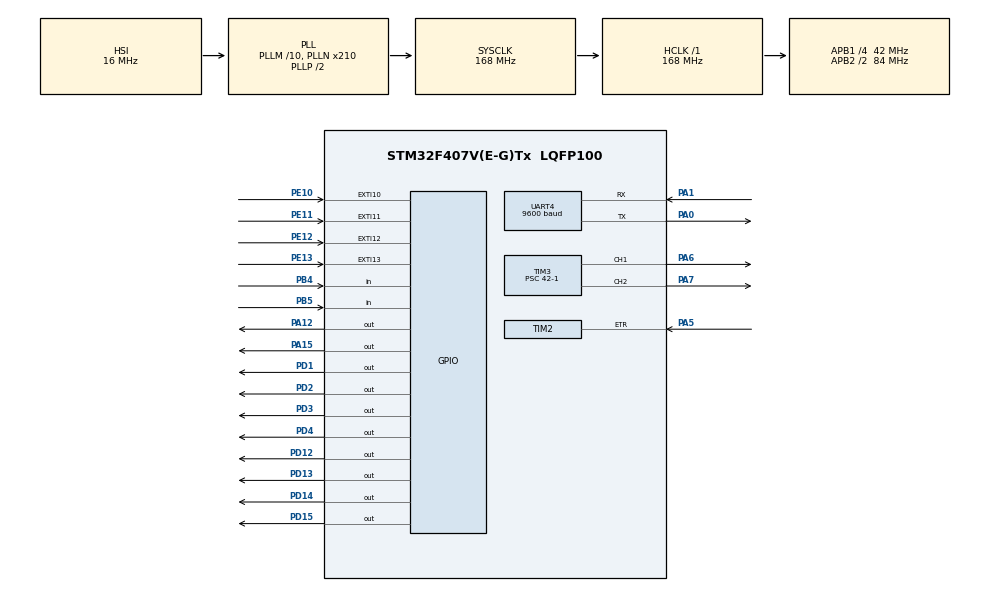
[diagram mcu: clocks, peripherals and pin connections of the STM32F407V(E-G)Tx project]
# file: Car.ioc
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Dma.Request0=TIM3_CH1/TRIG
Dma.Request1=TIM3_CH2
Dma.TIM3_CH1/TRIG.0.Direction=DMA_MEMORY_TO_PERIPH
Dma.TIM3_CH1/TRIG.0.FIFOMode=DMA_FIFOMODE_DISABLE
Dma.TIM3_CH1/TRIG.0.Instance=DMA1_Stream4
Dma.TIM3_CH1/TRIG.0.MemDataAlignment=DMA_MDATAALIGN_HALFWORD
Dma.TIM3_CH1/TRIG.0.MemInc=DMA_MINC_ENABLE
Dma.TIM3_CH1/TRIG.0.Mode=DMA_NORMAL
Dma.TIM3_CH1/TRIG.0.PeriphDataAlignment=DMA_PDATAALIGN_HALFWORD
Dma.TIM3_CH1/TRIG.0.PeriphInc=DMA_PINC_DISABLE
Dma.TIM3_CH1/TRIG.0.Priority=DMA_PRIORITY_LOW
Dma.TIM3_CH2.1.Direction=DMA_MEMORY_TO_PERIPH
Dma.TIM3_CH2.1.FIFOMode=DMA_FIFOMODE_DISABLE
Dma.TIM3_CH2.1.Instance=DMA1_Stream5
Dma.TIM3_CH2.1.MemDataAlignment=DMA_MDATAALIGN_HALFWORD
Dma.TIM3_CH2.1.MemInc=DMA_MINC_ENABLE
Dma.TIM3_CH2.1.Mode=DMA_NORMAL
Dma.TIM3_CH2.1.PeriphDataAlignment=DMA_PDATAALIGN_HALFWORD
Dma.TIM3_CH2.1.PeriphInc=DMA_PINC_DISABLE
Dma.TIM3_CH2.1.Priority=DMA_PRIORITY_LOW
Mcu.Family=STM32F4
Mcu.Name=STM32F407V(E-G)Tx
Mcu.Package=LQFP100
NVIC.DMA1_Stream4_IRQn=true\:0\:0\:false\:false\:true\:false\:true\:true
NVIC.DMA1_Stream5_IRQn=true\:0\:0\:false\:false\:true\:false\:true\:true
NVIC.EXTI15_10_IRQn=true\:0\:0\:false\:false\:true\:true\:true\:true
NVIC.PriorityGroup=NVIC_PRIORITYGROUP_4
NVIC.TIM2_IRQn=true\:2\:0\:true\:false\:true\:true\:true\:true
NVIC.TIM3_IRQn=true\:0\:0\:false\:false\:true\:true\:true\:true
NVIC.TIM4_IRQn=true\:0\:0\:true\:false\:true\:true\:true\:true
NVIC.UART4_IRQn=true\:0\:0\:false\:false\:true\:true\:true\:true
PA0-WKUP.Mode=Asynchronous
PA0-WKUP.Signal=UART4_TX
PA1.Mode=Asynchronous
PA1.Signal=UART4_RX
PA12.Signal=GPIO_Output
PA13.Mode=Serial_Wire
PA13.Signal=SYS_JTMS-SWDIO
PA14.Mode=Serial_Wire
PA14.Signal=SYS_JTCK-SWCLK
PA15.Signal=GPIO_Output
PA5.Signal=S_TIM2_CH1_ETR
PA6.Signal=S_TIM3_CH1
PA7.Signal=S_TIM3_CH2
PB4.GPIO_PuPd=GPIO_NOPULL
PB4.Signal=GPIO_Input
PB5.GPIO_PuPd=GPIO_NOPULL
PB5.Signal=GPIO_Input
PB6.Signal=S_TIM4_CH1
PB7.Signal=S_TIM4_CH2
PD1.Signal=GPIO_Output
PD12.Signal=GPIO_Output
PD13.Signal=GPIO_Output
PD14.Signal=GPIO_Output
PD15.Signal=GPIO_Output
PD2.Signal=GPIO_Output
PD3.Signal=GPIO_Output
PD4.Signal=GPIO_Output
PE10.GPIO_PuPd=GPIO_PULLDOWN
PE10.Signal=GPXTI10
PE11.GPIO_PuPd=GPIO_PULLDOWN
PE11.Signal=GPXTI11
PE12.GPIO_PuPd=GPIO_PULLDOWN
PE12.Signal=GPXTI12
PE13.GPIO_PuPd=GPIO_PULLDOWN
PE13.Signal=GPXTI13
PH0-OSC_IN.Mode=HSE-External-Oscillator
PH0-OSC_IN.Signal=RCC_OSC_IN
PH1-OSC_OUT.Mode=HSE-External-Oscillator
PH1-OSC_OUT.Signal=RCC_OSC_OUT
ProjectManager.HeapSize=0x200
ProjectManager.StackSize=0x400
ProjectManager.TargetToolchain=STM32CubeIDE
RCC.48MHZClocksFreq_Value=84000000
RCC.AHBFreq_Value=168000000
RCC.APB1CLKDivider=RCC_HCLK_DIV4
RCC.APB1Freq_Value=42000000
RCC.APB1TimFreq_Value=84000000
RCC.APB2CLKDivider=RCC_HCLK_DIV2
RCC.APB2Freq_Value=84000000
RCC.APB2TimFreq_Value=168000000
RCC.CortexFreq_Value=168000000
RCC.HCLKFreq_Value=168000000
RCC.HSE_VALUE=26000000
RCC.HSI_VALUE=16000000
RCC.LSE_VALUE=32768
RCC.PLLM=10
RCC.PLLN=210
RCC.SYSCLKFreq_VALUE=168000000
RCC.SYSCLKSource=RCC_SYSCLKSOURCE_PLLCLK
RCC.VCOOutputFreq_Value=336000000
SH.S_TIM2_CH1_ETR.0=TIM2_ETR,ClockSourceETR_Mode2
SH.S_TIM3_CH1.0=TIM3_CH1,PWM Generation1 CH1
SH.S_TIM3_CH2.0=TIM3_CH2,PWM Generation2 CH2
SH.S_TIM4_CH1.0=TIM4_CH1
SH.S_TIM4_CH2.0=TIM4_CH2
TIM2.Period=19999
TIM2.Prescaler=3599
TIM3.Channel-PWM\ Generation1\ CH1=TIM_CHANNEL_1
TIM3.Channel-PWM\ Generation2\ CH2=TIM_CHANNEL_2
TIM3.Period=100-1
TIM3.Prescaler=42-1
TIM3.Pulse-PWM\ Generation1\ CH1=0
TIM4.AutoReloadPreload=TIM_AUTORELOAD_PRELOAD_ENABLE
TIM4.Period=8400
TIM4.Prescaler=10000
UART4.BaudRate=9600
UART4.VirtualMode=Asynchronous
VP_TIM3_VS_ClockSourceINT.Mode=Internal
VP_TIM4_VS_ClockSourceINT.Mode=Internal
VP_TIM4_VS_OPM.Mode=OPM_bit
board=custom

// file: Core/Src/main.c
/* USER CODE BEGIN Header */
/**
  ******************************************************************************
  * @file           : main.c
  * @brief          : Main program body
  ******************************************************************************
  * @attention
  *
  * Copyright (c) 2023 STMicroelectronics.
  * All rights reserved.
  *
  * This software is licensed under terms that can be found in the LICENSE file
  * in the root directory of this software component.
  * If no LICENSE file comes with this software, it is provided AS-IS.
  *
  ******************************************************************************
  */
/* USER CODE END Header */
#include "main.h"

/* USER CODE BEGIN Includes */
#include <string.h>
/* USER CODE END Includes */

TIM_HandleTypeDef htim2;
TIM_HandleTypeDef htim3;
TIM_HandleTypeDef htim4;
DMA_HandleTypeDef hdma_tim3_ch1_trig;
DMA_HandleTypeDef hdma_tim3_ch2;

UART_HandleTypeDef huart4;

/* USER CODE BEGIN PV */
uint8_t rx_data;
uint8_t data_compare;
uint8_t tx_data_touch_sensor_1[] = "1";
uint8_t tx_data_touch_sensor_2[] = "2";
uint8_t tx_data_touch_sensor_3[] = "3";
uint8_t tx_data_touch_sensor_4[] = "4";
uint8_t counter_data[] = "v";
uint8_t velocity = 0;
uint8_t flag = 0;
uint8_t sensor_slot = 1;
volatile uint32_t tim4_count = 0, direction;
uint32_t count = 0;
int speed = 0;
int16_t position;
/* USER CODE END PV */

void SystemClock_Config(void);
static void MX_GPIO_Init(void);
static void MX_DMA_Init(void);
static void MX_UART4_Init(void);
static void MX_TIM2_Init(void);
static void MX_TIM3_Init(void);
static void MX_TIM4_Init(void);

/* USER CODE BEGIN 0 */
void moveForward(void);
void moveBackward(void);
void moveLeft(void);
void moveRight(void);
void stopMotor(void);
/* USER CODE END 0 */

int main(void)
{

  /* MCU Configuration--------------------------------------------------------*/

  /* Reset of all peripherals, Initializes the Flash interface and the Systick. */
  HAL_Init();

  /* Configure the system clock */
  SystemClock_Config();

  /* Initialize all configured peripherals */
  MX_GPIO_Init();
  MX_DMA_Init();
  MX_UART4_Init();
  MX_TIM2_Init();
  MX_TIM3_Init();
  MX_TIM4_Init();
  /* USER CODE BEGIN 2 */
  HAL_UART_Receive_IT(&huart4,&rx_data,1);
  HAL_TIM_Base_Start(&htim3);
  HAL_TIM_PWM_Start(&htim3, TIM_CHANNEL_1);
  HAL_TIM_PWM_Start(&htim3, TIM_CHANNEL_2);
  HAL_TIM_Base_Start_IT(&htim4);
  //HAL_TIM_Encoder_Start(&htim4, TIM_CHANNEL_ALL);
  /* USER CODE END 2 */

  /* Infinite loop */
  while (1)
  {

    /* USER CODE BEGIN 3 */
	  HAL_TIM_Base_Start_IT(&htim4);
	HAL_UART_RxCpltCallback(&huart4);
	if(HAL_GPIO_ReadPin(GPIOB, GPIO_PIN_4) == 1) {
		count++;
	}
	HAL_TIM_Base_Stop_IT(&htim4);
  }
  /* USER CODE END 3 */
}

void SystemClock_Config(void)
{
  RCC_OscInitTypeDef RCC_OscInitStruct = {0};
  RCC_ClkInitTypeDef RCC_ClkInitStruct = {0};

  /** Configure the main internal regulator output voltage
  */
  __HAL_RCC_PWR_CLK_ENABLE();
  __HAL_PWR_VOLTAGESCALING_CONFIG(PWR_REGULATOR_VOLTAGE_SCALE1);

  /** Initializes the RCC Oscillators according to the specified parameters
  * in the RCC_OscInitTypeDef structure.
  */
  RCC_OscInitStruct.OscillatorType = RCC_OSCILLATORTYPE_HSI;
  RCC_OscInitStruct.HSIState = RCC_HSI_ON;
  RCC_OscInitStruct.HSICalibrationValue = RCC_HSICALIBRATION_DEFAULT;
  RCC_OscInitStruct.PLL.PLLState = RCC_PLL_ON;
  RCC_OscInitStruct.PLL.PLLSource = RCC_PLLSOURCE_HSI;
  RCC_OscInitStruct.PLL.PLLM = 10;
  RCC_OscInitStruct.PLL.PLLN = 210;
  RCC_OscInitStruct.PLL.PLLP = RCC_PLLP_DIV2;
  RCC_OscInitStruct.PLL.PLLQ = 4;
  if (HAL_RCC_OscConfig(&RCC_OscInitStruct) != HAL_OK)
  {
    Error_Handler();
  }

  /** Initializes the CPU, AHB and APB buses clocks
  */
  RCC_ClkInitStruct.ClockType = RCC_CLOCKTYPE_HCLK|RCC_CLOCKTYPE_SYSCLK
                              |RCC_CLOCKTYPE_PCLK1|RCC_CLOCKTYPE_PCLK2;
  RCC_ClkInitStruct.SYSCLKSource = RCC_SYSCLKSOURCE_PLLCLK;
  RCC_ClkInitStruct.AHBCLKDivider = RCC_SYSCLK_DIV1;
  RCC_ClkInitStruct.APB1CLKDivider = RCC_HCLK_DIV4;
  RCC_ClkInitStruct.APB2CLKDivider = RCC_HCLK_DIV2;

  if (HAL_RCC_ClockConfig(&RCC_ClkInitStruct, FLASH_LATENCY_5) != HAL_OK)
  {
    Error_Handler();
  }
}

static void MX_TIM2_Init(void)
{

  TIM_ClockConfigTypeDef sClockSourceConfig = {0};
  TIM_MasterConfigTypeDef sMasterConfig = {0};

  htim2.Instance = TIM2;
  htim2.Init.Prescaler = 3599;
  htim2.Init.CounterMode = TIM_COUNTERMODE_UP;
  htim2.Init.Period = 19999;
  htim2.Init.ClockDivision = TIM_CLOCKDIVISION_DIV1;
  htim2.Init.AutoReloadPreload = TIM_AUTORELOAD_PRELOAD_DISABLE;
  if (HAL_TIM_Base_Init(&htim2) != HAL_OK)
  {
    Error_Handler();
  }
  sClockSourceConfig.ClockSource = TIM_CLOCKSOURCE_ETRMODE2;
  sClockSourceConfig.ClockPolarity = TIM_CLOCKPOLARITY_NONINVERTED;
  sClockSourceConfig.ClockPrescaler = TIM_CLOCKPRESCALER_DIV1;
  sClockSourceConfig.ClockFilter = 0;
  if (HAL_TIM_ConfigClockSource(&htim2, &sClockSourceConfig) != HAL_OK)
  {
    Error_Handler();
  }
  sMasterConfig.MasterOutputTrigger = TIM_TRGO_RESET;
  sMasterConfig.MasterSlaveMode = TIM_MASTERSLAVEMODE_DISABLE;
  if (HAL_TIMEx_MasterConfigSynchronization(&htim2, &sMasterConfig) != HAL_OK)
  {
    Error_Handler();
  }

}

static void MX_TIM3_Init(void)
{

  TIM_ClockConfigTypeDef sClockSourceConfig = {0};
  TIM_MasterConfigTypeDef sMasterConfig = {0};
  TIM_OC_InitTypeDef sConfigOC = {0};

  htim3.Instance = TIM3;
  htim3.Init.Prescaler = 42-1;
  htim3.Init.CounterMode = TIM_COUNTERMODE_UP;
  htim3.Init.Period = 100-1;
  htim3.Init.ClockDivision = TIM_CLOCKDIVISION_DIV1;
  htim3.Init.AutoReloadPreload = TIM_AUTORELOAD_PRELOAD_DISABLE;
  if (HAL_TIM_Base_Init(&htim3) != HAL_OK)
  {
    Error_Handler();
  }
  sClockSourceConfig.ClockSource = TIM_CLOCKSOURCE_INTERNAL;
  if (HAL_TIM_ConfigClockSource(&htim3, &sClockSourceConfig) != HAL_OK)
  {
    Error_Handler();
  }
  if (HAL_TIM_PWM_Init(&htim3) != HAL_OK)
  {
    Error_Handler();
  }
  sMasterConfig.MasterOutputTrigger = TIM_TRGO_RESET;
  sMasterConfig.MasterSlaveMode = TIM_MASTERSLAVEMODE_DISABLE;
  if (HAL_TIMEx_MasterConfigSynchronization(&htim3, &sMasterConfig) != HAL_OK)
  {
    Error_Handler();
  }
  sConfigOC.OCMode = TIM_OCMODE_PWM1;
  sConfigOC.Pulse = 0;
  sConfigOC.OCPolarity = TIM_OCPOLARITY_HIGH;
  sConfigOC.OCFastMode = TIM_OCFAST_DISABLE;
  if (HAL_TIM_PWM_ConfigChannel(&htim3, &sConfigOC, TIM_CHANNEL_1) != HAL_OK)
  {
    Error_Handler();
  }
  if (HAL_TIM_PWM_ConfigChannel(&htim3, &sConfigOC, TIM_CHANNEL_2) != HAL_OK)
  {
    Error_Handler();
  }
  HAL_TIM_MspPostInit(&htim3);

}

static void MX_TIM4_Init(void)
{

  TIM_ClockConfigTypeDef sClockSourceConfig = {0};
  TIM_MasterConfigTypeDef sMasterConfig = {0};

  htim4.Instance = TIM4;
  htim4.Init.Prescaler = 10000;
  htim4.Init.CounterMode = TIM_COUNTERMODE_UP;
  htim4.Init.Period = 8400;
  htim4.Init.ClockDivision = TIM_CLOCKDIVISION_DIV1;
  htim4.Init.AutoReloadPreload = TIM_AUTORELOAD_PRELOAD_ENABLE;
  if (HAL_TIM_Base_Init(&htim4) != HAL_OK)
  {
    Error_Handler();
  }
  sClockSourceConfig.ClockSource = TIM_CLOCKSOURCE_INTERNAL;
  if (HAL_TIM_ConfigClockSource(&htim4, &sClockSourceConfig) != HAL_OK)
  {
    Error_Handler();
  }
  if (HAL_TIM_OnePulse_Init(&htim4, TIM_OPMODE_SINGLE) != HAL_OK)
  {
    Error_Handler();
  }
  sMasterConfig.MasterOutputTrigger = TIM_TRGO_RESET;
  sMasterConfig.MasterSlaveMode = TIM_MASTERSLAVEMODE_DISABLE;
  if (HAL_TIMEx_MasterConfigSynchronization(&htim4, &sMasterConfig) != HAL_OK)
  {
    Error_Handler();
  }

}

static void MX_UART4_Init(void)
{

  huart4.Instance = UART4;
  huart4.Init.BaudRate = 9600;
  huart4.Init.WordLength = UART_WORDLENGTH_8B;
  huart4.Init.StopBits = UART_STOPBITS_1;
  huart4.Init.Parity = UART_PARITY_NONE;
  huart4.Init.Mode = UART_MODE_TX_RX;
  huart4.Init.HwFlowCtl = UART_HWCONTROL_NONE;
  huart4.Init.OverSampling = UART_OVERSAMPLING_16;
  if (HAL_UART_Init(&huart4) != HAL_OK)
  {
    Error_Handler();
  }

}

static void MX_DMA_Init(void)
{

  /* DMA controller clock enable */
  __HAL_RCC_DMA1_CLK_ENABLE();

  /* DMA interrupt init */
  /* DMA1_Stream4_IRQn interrupt configuration */
  HAL_NVIC_SetPriority(DMA1_Stream4_IRQn, 0, 0);
  HAL_NVIC_EnableIRQ(DMA1_Stream4_IRQn);
  /* DMA1_Stream5_IRQn interrupt configuration */
  HAL_NVIC_SetPriority(DMA1_Stream5_IRQn, 0, 0);
  HAL_NVIC_EnableIRQ(DMA1_Stream5_IRQn);

}

static void MX_GPIO_Init(void)
{
  GPIO_InitTypeDef GPIO_InitStruct = {0};

  /* GPIO Ports Clock Enable */
  __HAL_RCC_GPIOH_CLK_ENABLE();
  __HAL_RCC_GPIOA_CLK_ENABLE();
  __HAL_RCC_GPIOE_CLK_ENABLE();
  __HAL_RCC_GPIOD_CLK_ENABLE();
  __HAL_RCC_GPIOB_CLK_ENABLE();

  /*Configure GPIO pin Output Level */
  HAL_GPIO_WritePin(GPIOD, GPIO_PIN_12|GPIO_PIN_13|GPIO_PIN_14|GPIO_PIN_15
                          |GPIO_PIN_1|GPIO_PIN_2|GPIO_PIN_3|GPIO_PIN_4, GPIO_PIN_RESET);

  /*Configure GPIO pin Output Level */
  HAL_GPIO_WritePin(GPIOA, GPIO_PIN_12|GPIO_PIN_15, GPIO_PIN_RESET);

  /*Configure GPIO pins : PE10 PE11 PE12 PE13 */
  GPIO_InitStruct.Pin = GPIO_PIN_10|GPIO_PIN_11|GPIO_PIN_12|GPIO_PIN_13;
  GPIO_InitStruct.Mode = GPIO_MODE_IT_RISING;
  GPIO_InitStruct.Pull = GPIO_PULLDOWN;
  HAL_GPIO_Init(GPIOE, &GPIO_InitStruct);

  /*Configure GPIO pins : PD12 PD13 PD14 PD15
                           PD1 PD2 PD3 PD4 */
  GPIO_InitStruct.Pin = GPIO_PIN_12|GPIO_PIN_13|GPIO_PIN_14|GPIO_PIN_15
                          |GPIO_PIN_1|GPIO_PIN_2|GPIO_PIN_3|GPIO_PIN_4;
  GPIO_InitStruct.Mode = GPIO_MODE_OUTPUT_PP;
  GPIO_InitStruct.Pull = GPIO_NOPULL;
  GPIO_InitStruct.Speed = GPIO_SPEED_FREQ_LOW;
  HAL_GPIO_Init(GPIOD, &GPIO_InitStruct);

  /*Configure GPIO pins : PA12 PA15 */
  GPIO_InitStruct.Pin = GPIO_PIN_12|GPIO_PIN_15;
  GPIO_InitStruct.Mode = GPIO_MODE_OUTPUT_PP;
  GPIO_InitStruct.Pull = GPIO_NOPULL;
  GPIO_InitStruct.Speed = GPIO_SPEED_FREQ_LOW;
  HAL_GPIO_Init(GPIOA, &GPIO_InitStruct);

  /*Configure GPIO pins : PB4 PB5 */
  GPIO_InitStruct.Pin = GPIO_PIN_4|GPIO_PIN_5;
  GPIO_InitStruct.Mode = GPIO_MODE_INPUT;
  GPIO_InitStruct.Pull = GPIO_NOPULL;
  HAL_GPIO_Init(GPIOB, &GPIO_InitStruct);

  /* EXTI interrupt init*/
  HAL_NVIC_SetPriority(EXTI15_10_IRQn, 0, 0);
  HAL_NVIC_EnableIRQ(EXTI15_10_IRQn);

}

/* USER CODE BEGIN 4 */
void HAL_UART_RxCpltCallback(UART_HandleTypeDef *huart)
{
  if(huart->Instance==UART4)
  {
	  if(rx_data == 48) {
		  stopMotor();
	  }
	  if(rx_data == 49) // Ascii value of '1' is 49
	  {
		  moveForward();

	  }
	  else if (rx_data == 50) // Ascii value of '2' is 50
	  {
		  moveRight();
	  }
	  else if (rx_data == 51) // Ascii value of '3' is 51
	  {
		  moveBackward();
	  }
	  else if(rx_data == 52)// Ascii value of '4' is 52
	  {
		  moveLeft();
	  } else {
		  return;
	  }

	  HAL_UART_Receive_IT(&huart4, &rx_data, 1);
  }
}

void HAL_GPIO_EXTI_Callback(uint16_t GPIO_PIN) {
	switch(GPIO_PIN) {
	case GPIO_PIN_10:
		//HAL_GPIO_WritePin(GPIOD, GPIO_PIN_12, 1);
		flag = 1;
		sensor_slot = 1;
		break;
	case GPIO_PIN_11:
		HAL_GPIO_WritePin(GPIOD, GPIO_PIN_13, 1);
		flag = 1;
		sensor_slot = 2;
		break;
	case GPIO_PIN_12:
		HAL_GPIO_WritePin(GPIOD, GPIO_PIN_14, 1);
		flag = 1;
		sensor_slot = 3;
		break;
	case GPIO_PIN_13:
		HAL_GPIO_WritePin(GPIOD, GPIO_PIN_15, 1);
		flag = 1;
		sensor_slot = 4;
		break;
	default:
		return;
	}

	if(flag == 1 && sensor_slot == 1) {
		HAL_UART_Transmit_IT(&huart4, tx_data_touch_sensor_1, strlen((char*)tx_data_touch_sensor_1));
		flag = 0;
	} else if(flag == 1 && sensor_slot == 2) {
		HAL_UART_Transmit_IT(&huart4, tx_data_touch_sensor_2, strlen((char*)tx_data_touch_sensor_2));
		flag = 0;
	} else if(flag == 1 && sensor_slot == 3) {
		HAL_UART_Transmit_IT(&huart4, tx_data_touch_sensor_3, strlen((char*)tx_data_touch_sensor_3));
		flag = 0;
	} else if(flag == 1 && sensor_slot == 4) {
		HAL_UART_Transmit_IT(&huart4, tx_data_touch_sensor_4, strlen((char*)tx_data_touch_sensor_4));
		flag = 0;
	}

}

//void HAL_TIM_IC_CaptureCallback(TIM_HandleTypeDef *htim) {
//	tim4_count = __HAL_TIM_GET_COUNTER(htim);
//
//	count = (int16_t)tim4_count;
//
//	position = count/4;
//}

void HAL_TIM_PeriodElapsedCallback(TIM_HandleTypeDef* htim)
{
	if(htim->Instance == htim4.Instance)
	 {
		HAL_GPIO_TogglePin(GPIOD, GPIO_PIN_12);
		count = count / 20;
		velocity = 6 * 2 * 3.14 * count;
		counter_data[1] = velocity;
		HAL_UART_Transmit_IT(&huart4, counter_data, strlen((char*)counter_data));
		count = 0;
	 }
}

void moveForward() {
	TIM3->CCR1 = 100;
	HAL_TIM_PWM_Start(&htim3, TIM_CHANNEL_1);
	TIM3->CCR2 = 100;
	HAL_TIM_PWM_Start(&htim3, TIM_CHANNEL_2);

	HAL_GPIO_WritePin(GPIOD, GPIO_PIN_1, 1);
	HAL_GPIO_WritePin(GPIOD, GPIO_PIN_3, 0);
	HAL_GPIO_WritePin(GPIOD, GPIO_PIN_2, 1);
	HAL_GPIO_WritePin(GPIOD, GPIO_PIN_4, 0);

	HAL_UART_Receive_IT(&huart4, &rx_data, 1);
}

void moveBackward() {
	TIM3->CCR1 = 100;
	HAL_TIM_PWM_Start(&htim3, TIM_CHANNEL_1);
	TIM3->CCR2 = 100;
	HAL_TIM_PWM_Start(&htim3, TIM_CHANNEL_2);

	HAL_GPIO_WritePin(GPIOD, GPIO_PIN_1, 0);
	HAL_GPIO_WritePin(GPIOD, GPIO_PIN_3, 1);
	HAL_GPIO_WritePin(GPIOD, GPIO_PIN_2, 0);
	HAL_GPIO_WritePin(GPIOD, GPIO_PIN_4, 1);

	HAL_UART_Receive_IT(&huart4, &rx_data, 1);
}

void moveLeft() {
	TIM3->CCR1 = 75;
	HAL_TIM_PWM_Start(&htim3, TIM_CHANNEL_1);
	TIM3->CCR2 = 100;
	HAL_TIM_PWM_Start(&htim3, TIM_CHANNEL_2);

	HAL_GPIO_WritePin(GPIOD, GPIO_PIN_1, 1);
	HAL_GPIO_WritePin(GPIOD, GPIO_PIN_3, 0);
	HAL_GPIO_WritePin(GPIOD, GPIO_PIN_2, 1);
	HAL_GPIO_WritePin(GPIOD, GPIO_PIN_4, 0);

	HAL_UART_Receive_IT(&huart4, &rx_data, 1);
}

void moveRight() {
	TIM3->CCR1 = 100;
	HAL_TIM_PWM_Start(&htim3, TIM_CHANNEL_1);
	TIM3->CCR2 = 75;
	HAL_TIM_PWM_Start(&htim3, TIM_CHANNEL_2);

	HAL_GPIO_WritePin(GPIOD, GPIO_PIN_1, 1);
	HAL_GPIO_WritePin(GPIOD, GPIO_PIN_3, 0);
	HAL_GPIO_WritePin(GPIOD, GPIO_PIN_2, 1);
	HAL_GPIO_WritePin(GPIOD, GPIO_PIN_4, 0);

	HAL_UART_Receive_IT(&huart4, &rx_data, 1);
}

void stopMotor() {
	TIM3->CCR1 = 0;
	HAL_TIM_PWM_Start(&htim3, TIM_CHANNEL_1);
	TIM3->CCR2 = 0;
	HAL_TIM_PWM_Start(&htim3, TIM_CHANNEL_2);

	HAL_GPIO_WritePin(GPIOD, GPIO_PIN_1, 1);
	HAL_GPIO_WritePin(GPIOD, GPIO_PIN_3, 0);
	HAL_GPIO_WritePin(GPIOD, GPIO_PIN_2, 1);
	HAL_GPIO_WritePin(GPIOD, GPIO_PIN_4, 0);

	HAL_UART_Receive_IT(&huart4, &rx_data, 1);
}
/* USER CODE END 4 */

void Error_Handler(void)
{
  __disable_irq();
  while (1)
  {
  }
}
